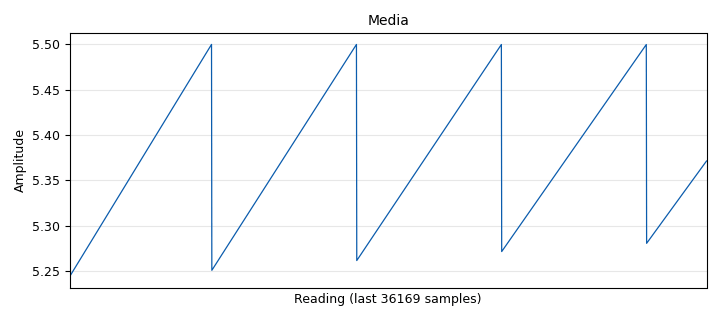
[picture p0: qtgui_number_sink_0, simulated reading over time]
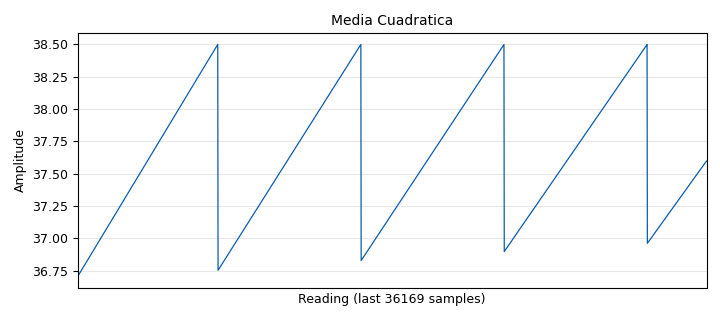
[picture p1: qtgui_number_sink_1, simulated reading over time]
options:
  parameters:
    generate_options: qt_gui
    id: Implementacion_Bloque_Promedios_De_Tiempos
    output_language: python
    title: Not titled yet
  states: {}

blocks:
- name: samp_rate
  id: variable
  parameters:
    value: '32000'
  states: {}
- name: blocks_vector_source_x_0
  id: blocks_vector_source_x
  parameters:
    repeat: 'True'
    type: float
    vector: (3, 8, 1, 6, 10, 2, 7, 4, 9, 5)
  states: {}
- name: epy_block_0
  id: epy_block
  parameters:
    _source_code: |-
      import numpy as np
      from gnuradio import gr

      class blk(gr.sync_block):

          def __init__(self):  # only default arguments here
              gr.sync_block.__init__(
                  self,
                  name="Promedios_de_tiempos",  # will show up in GRC
                  in_sig=[np.float32],
                  out_sig=[np.float32, np.float32, np.float32, np.float32, np.float32]
              )
              self.acum_anterior = 0
              self.Ntotales = 0
              self.acum_anterior1 = 0
              self.acum_anterior2 = 0

          def work(self, input_items, output_items):
              x = input_items[0]    # Señal de entrada
              y0 = output_items[0]  # Promedio de la señal
              y1 = output_items[1]  # Media de la señal
              y2 = output_items[2]  # RMS de la señal
              y3 = output_items[3]  # Potencia promedio de la señal
              y4 = output_items[4]  # Desviación estandar de la señal

              # Calculo del promedio
              N = len(x)
              self.Ntotales = self.Ntotales + N
              acumulado = self.acum_anterior + np.cumsum(x)
              self.acum_anterior = acumulado[N-1]
              y0[:] = acumulado / self.Ntotales

              # Calculo de la media cuadratica
              x2 = np.multiply(x, x)
              acumulado1 = self.acum_anterior1 + np.cumsum(x2)
              self.acum_anterior1 = acumulado1[N-1]
              y1[:] = acumulado1 / self.Ntotales

              # Calculo de la RMS
              y2[:] = np.sqrt(y1)

              # Calculo de la potencia promedio
              y3[:] = np.multiply(y2, y2)

              # Calculo de la desviacion estandar
              x3 = np.multiply(x-y0, x-y0)
              acumulado2 = self.acum_anterior2 + np.cumsum(x3)
              self.acum_anterior2 = acumulado2[N-1]
              y4[:] = np.sqrt(acumulado2 / self.Ntotales)

              return len(x)
  states: {}
- name: qtgui_number_sink_0
  id: qtgui_number_sink
  parameters:
    graph_type: qtgui.NUM_GRAPH_HORIZ
    name: '"Media"'
    type: float
  states: {}
- name: qtgui_number_sink_1
  id: qtgui_number_sink
  parameters:
    graph_type: qtgui.NUM_GRAPH_HORIZ
    name: '"Media Cuadratica"'
    type: float
  states: {}
- name: qtgui_number_sink_2
  id: qtgui_number_sink
  parameters:
    graph_type: qtgui.NUM_GRAPH_HORIZ
    name: '"RMS"'
    type: float
  states: {}
- name: qtgui_number_sink_3
  id: qtgui_number_sink
  parameters:
    graph_type: qtgui.NUM_GRAPH_HORIZ
    name: '"Potencia Promedio"'
    type: float
  states: {}
- name: qtgui_number_sink_4
  id: qtgui_number_sink
  parameters:
    graph_type: qtgui.NUM_GRAPH_HORIZ
    name: '"Desviacion Estandar"'
    type: float
  states: {}

connections:
- [blocks_vector_source_x_0, '0', epy_block_0, '0']
- [epy_block_0, '0', qtgui_number_sink_0, '0']
- [epy_block_0, '1', qtgui_number_sink_1, '0']
- [epy_block_0, '2', qtgui_number_sink_2, '0']
- [epy_block_0, '3', qtgui_number_sink_3, '0']
- [epy_block_0, '4', qtgui_number_sink_4, '0']

metadata:
  file_format: 1
  grc_version: 3.10.12.0
